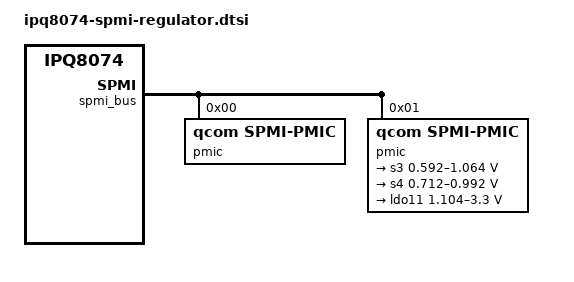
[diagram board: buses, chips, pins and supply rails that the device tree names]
/*
 * Copyright (c) 2016,2020. The Linux Foundation. All rights reserved.
 *
 * Permission to use, copy, modify, and/or distribute this software for any
 * purpose with or without fee is hereby granted, provided that the above
 * copyright notice and this permission notice appear in all copies.
 *
 * THE SOFTWARE IS PROVIDED "AS IS" AND THE AUTHOR DISCLAIMS ALL WARRANTIES
 * WITH REGARD TO THIS SOFTWARE INCLUDING ALL IMPLIED WARRANTIES OF
 * MERCHANTABILITY AND FITNESS. IN NO EVENT SHALL THE AUTHOR BE LIABLE FOR
 * ANY SPECIAL, DIRECT, INDIRECT, OR CONSEQUENTIAL DAMAGES OR ANY DAMAGES
 * WHATSOEVER RESULTING FROM LOSS OF USE, DATA OR PROFITS, WHETHER IN AN
 * ACTION OF CONTRACT, NEGLIGENCE OR OTHER TORTIOUS ACTION, ARISING OUT OF
 * OR IN CONNECTION WITH THE USE OR PERFORMANCE OF THIS SOFTWARE.
 */

#include "ipq8074-regulator.dtsi"
#include <dt-bindings/spmi/spmi.h>
#include <dt-bindings/interrupt-controller/irq.h>
#include <dt-bindings/iio/qcom,spmi-vadc.h>

&spmi_bus {
	pmic@0 {
		compatible ="qcom,spmi-pmic";
		reg = <0x0 SPMI_USID>;
		#address-cells = <1>;
		#size-cells = <0>;

		pmp8074_vadc: vadc@3100 {
			compatible = "qcom,pmp8074-spmi-vadc";
			reg = <0x3100 0x100>;
			interrupts = <0x0 0x31 0x0 IRQ_TYPE_EDGE_RISING>;
			#address-cells = <1>;
			#size-cells = <0>;
			#io-channel-cells = <1>;

			pa_therm1 {
				reg = <VADC_PMP8074_AMUX_THM1>;
				qcom,vadc-thermal-node;
			};
			pa_therm2 {
				reg = <VADC_PMP8074_AMUX_THM2>;
				qcom,vadc-thermal-node;
			};
			pa_therm3 {
				reg = <VADC_PMP8074_AMUX_THM3>;
				qcom,vadc-thermal-node;
			};
			die_temp {
				reg = <VADC_PMP8074_DIE_TEMP>;
			};
		};
	};

	pmic@1 {
		compatible ="qcom,spmi-pmic";
		reg = <0x1 SPMI_USID>;
		#address-cells = <1>;
		#size-cells = <0>;

		regulators {
			compatible = "qcom,pmd9655-regulators";
			vdd_s3-supply = <&e_smps1_reg>;
			vdd_s4-supply = <&e_smps1_reg>;
			vdd_ldo11-supply = <&e_smps1_reg>;

			s3: s3 {
				regulator-name = "pmd9655_s3";
				regulator-min-microvolt = <592000>;
				regulator-max-microvolt = <1064000>;
				regulator-always-on;
				regulator-boot-on;
			};

			s4: s4 {
				regulator-name = "pmd9655_s4";
				regulator-min-microvolt = <712000>;
				regulator-max-microvolt = <992000>;
				regulator-always-on;
				regulator-boot-on;
			};

			ldo11: ldo11 {
				regulator-name = "pmd9655_ldo11";
				regulator-min-microvolt = <1104000>;
				regulator-max-microvolt = <3300000>;
			};
		};
	};
};
